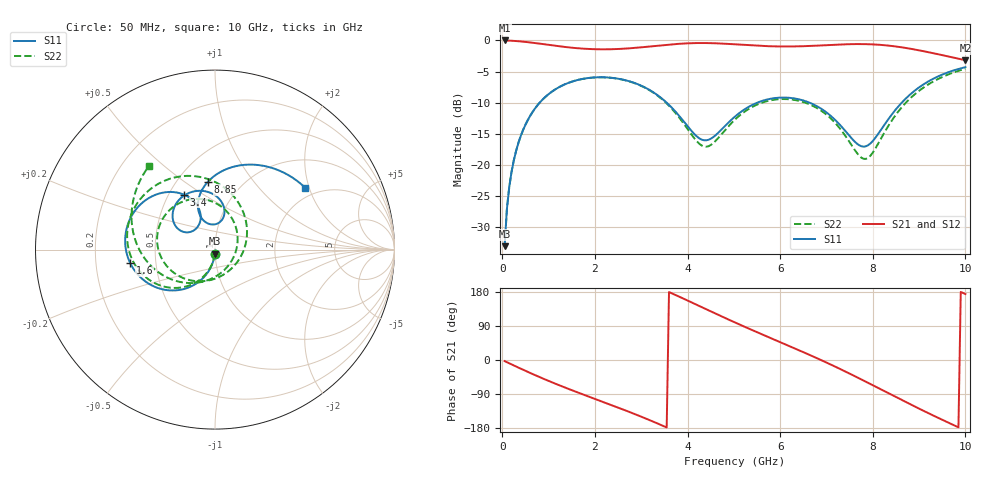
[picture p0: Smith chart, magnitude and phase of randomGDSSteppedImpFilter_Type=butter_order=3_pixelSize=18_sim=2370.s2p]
! freq	dB(S11)	phase(S11)	dB(S12)	phase(S12)
!  dB(S21)	phase(S21)	dB(S22)	phase(S22)
!S-par simulation data
#  GHz  S  DB  R 50
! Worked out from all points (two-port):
!   200 points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, 50 MHz to 10 GHz, reference 50 ohm
!   highest |S21| = 0.00 dB at 50 MHz (marker M1); lowest = -3.2 dB at 10 GHz (marker M2)
!   |S21| within 3 dB of the highest: start of sweep to 9.893 GHz
!   lowest |S11| = -33.1 dB at 50 MHz (marker M3), VSWR 1.05, Z = 49.8 - j2.21 ohm
!   |S11| at or under -10 dB: start of sweep to 808 MHz; 3.55 GHz to 5.506 GHz (1.956 GHz wide, 43.2 % of centre); 6.634 GHz to 8.626 GHz (1.992 GHz wide, 26.1 % of centre)
!   |S22| runs from -33.1 to -4.5 dB; largest |S21 - S12| = 0
!   S11 on the Smith chart (normalised r, x): 50 MHz: 1.00, -0.04; 1.6 GHz: 0.35, -0.07; 3.4 GHz: 0.60, +0.42; 8.85 GHz: 0.70, +0.62; 10 GHz: 1.72, +1.88
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0.05  -33.06 -92.8  -0.00 -2.9  -0.00 -2.9  -33.07 -93.0
0.1  -27.06 -95.8  -0.01 -5.8  -0.01 -5.8  -27.07 -96.2
0.2  -21.11 -101.5  -0.05 -11.6  -0.05 -11.6  -21.12 -102.4
0.45  -14.38 -115.4  -0.20 -25.8  -0.20 -25.8  -14.38 -117.3
1  -8.63 -143.5  -0.71 -55.2  -0.71 -55.2  -8.63 -147.9
1.6  -6.41 -170.9  -1.24 -84.3  -1.24 -84.3  -6.41 -178.7
1.75  -6.16 -177.3  -1.32 -91.2  -1.32 -91.2  -6.16 173.8
2.2  -5.92 164.2  -1.43 -111.8  -1.43 -111.8  -5.93 151.5
2.7  -6.47 144.5  -1.29 -135.0  -1.29 -135.0  -6.49 125.2
3.4  -9.06 119.5  -0.81 -170.0  -0.81 -170.0  -9.14 81.3
3.9  -12.85 111.6  -0.50 162.7  -0.50 162.7  -13.18 36.2
4.35  -16.04 130.4  -0.42 137.0  -0.42 137.0  -17.04 -35.4
4.7  -14.57 149.0  -0.49 117.1  -0.49 117.1  -15.37 -97.5
5.05  -12.07 149.8  -0.64 97.6  -0.64 97.6  -12.54 -137.4
5.8  -9.36 127.1  -0.94 57.6  -0.94 57.6  -9.61 166.8
6.7  -10.21 91.7  -0.87 10.0  -0.87 10.0  -10.49 108.7
7.25  -13.24 75.9  -0.67 -21.1  -0.67 -21.1  -13.79 64.6
7.8  -17.07 93.1  -0.59 -54.2  -0.59 -54.2  -19.02 -21.2
8.35  -12.52 113.0  -0.84 -88.4  -0.84 -88.4  -13.57 -118.3
8.85  -8.41 96.0  -1.38 -119.3  -1.38 -119.3  -9.02 -162.1
9.4  -5.82 67.7  -2.20 -152.0  -2.20 -152.0  -6.24 162.0
10  -4.30 34.3  -3.18 174.0  -3.18 174.0  -4.54 128.5
